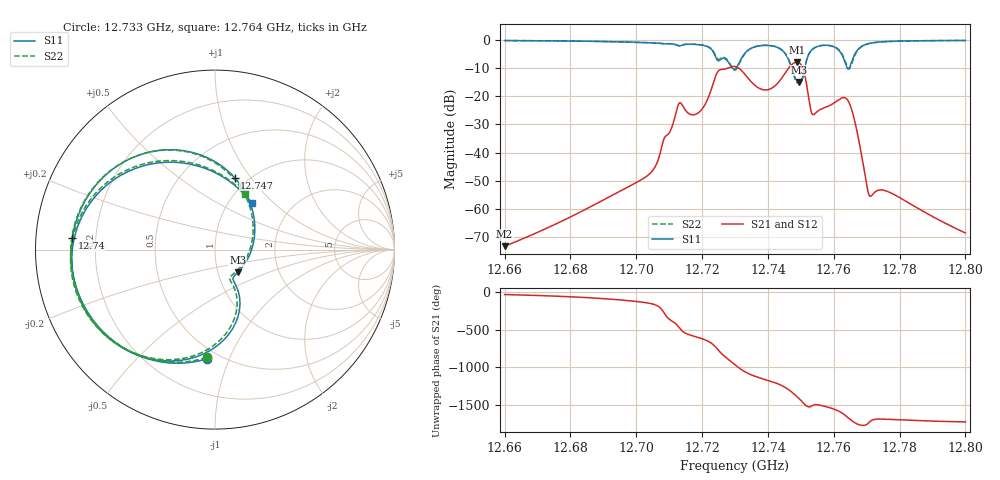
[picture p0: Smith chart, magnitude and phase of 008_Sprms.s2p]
! TOUCHSTONE file generated by CST MICROWAVE STUDIO
! Date and time: Wed Jul 31 10:59:28 2024
! Project name: WaveGuide_BPF-Ver4.1_U-shape_Ku_T3_C4_CWA_2.cst
! Parameters = {cavity_h=16; cavity_l0=10; cavity_l1=15.2332; cavity_l2=16.8024; cavity_l3=17.065; cavity_l4=17.2306; cavity_l5=17.1657; cavity_l6=17.5861; cavity_r=2.5; cavity_screw_l=0.5; cavity_screw_r=1.5; cavity_w=8; iris_h00=0; iris_h01=8.8107; iris_h112=0; iris_h12=5.5984; iris_h211=3.6514; i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
! Header version: 2018
! Port assignment regex: !\s*Touchstone port\s*([0-9]+)\s*=\s*(CST MWS port|CST DS port)\s*([0-9]+|Zmin|Zmax)\s*\(\"(.*)\"\)(\s*mode\s*([0-9]+))?.*
! Touchstone port assignment:
! Touchstone port 1 = CST MWS port 1 ("")
! Touchstone port 2 = CST MWS port 2 ("")
# GHz S RI R 50
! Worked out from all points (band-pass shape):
!   5001 points, 12.66 GHz to 12.8 GHz, reference 50 ohm
!   highest |S21| = -7.87 dB at 12.749 GHz (marker M1); lowest = -73.3 dB at 12.66 GHz (marker M2)
!   |S21| within 3 dB of the highest: 12.72506 GHz to 12.73202 GHz (6.961 MHz wide, 0.0547 % of centre); 12.74575 GHz to 12.75085 GHz (5.091 MHz wide, 0.0399 % of centre)
!   lowest |S11| = -14.9 dB at 12.749 GHz (marker M3), VSWR 1.44, Z = 62.2 - j16.2 ohm
!   |S11| at or under -10 dB: 12.72919 GHz to 12.73031 GHz (1.119 MHz wide, 0.00879 % of centre); 12.74726 GHz to 12.75114 GHz (3.886 MHz wide, 0.0305 % of centre); 12.76413 GHz to 12.76472 GHz (584.7 kHz wide, 0.00458 % of centre)
!   |S22| runs from -15.4 to -0.2 dB; largest |S21 - S12| = 1e-09
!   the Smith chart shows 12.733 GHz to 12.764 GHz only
!   S11 on the Smith chart (normalised r, x): 12.733 GHz: 0.43, -0.83; 12.74 GHz: 0.11, +0.04; 12.747 GHz: 0.87, +0.84; 12.764 GHz: 1.27, +0.74
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12.66  0.4038 0.891  0.00019 -0.000103  0.00019 -0.000103  0.4131 0.8866
12.68335  0.8266 0.4761  0.000374 -0.000817  0.000374 -0.000817  0.8342 0.4622
12.69696  0.9013 -0.1854  -0.000704 -0.00224  -0.000704 -0.00224  0.897 -0.2052
12.70668  0.4366 -0.763  -0.00747 0.000651  -0.00747 0.000651  0.4216 -0.773
12.71303  -0.1262 -0.7766  -0.0247 -0.0711  -0.0247 -0.0711  -0.1361 -0.7808
12.72098  -0.7612 -0.1962  0.00518 0.0727  0.00518 0.0727  -0.7639 -0.2171
12.72602  -0.4193 0.2104  -0.0534 -0.2947  -0.0534 -0.2947  -0.4462 0.1988
12.73  0.2909 0.0896  -0.143 0.3068  -0.143 0.3068  0.2643 0.1239
12.73333  -0.046 -0.6085  0.2255 0.0589  0.2255 0.0589  -0.0467 -0.6009
12.74044  -0.7945 0.0659  -0.0195 -0.1317  -0.0195 -0.1317  -0.7975 0.067
12.74652  0.109 0.4015  -0.2379 0.2272  -0.2379 0.2272  0.0989 0.4022
12.74879  0.1764 -0.0619  0.2407 0.3245  0.2407 0.3245  0.1627 -0.0667
12.7494  0.1272 -0.1263  0.3498 0.1851  0.3498 0.1851  0.1098 -0.1294
12.75335  -0.2505 -0.6205  0.0155 -0.047  0.0155 -0.047  -0.2709 -0.6135
12.75918  -0.7813 0.0754  -0.0147 -0.0691  -0.0147 -0.0691  -0.7892 0.079
12.76217  -0.3369 0.4801  -0.0854 -0.033  -0.0854 -0.033  -0.3746 0.4828
12.76396  0.204 0.2599  -0.0729 0.052  -0.0729 0.052  0.1646 0.3114
12.76548  0.2816 -0.3018  -0.000144 0.0575  -0.000144 0.0575  0.2956 -0.2437
12.76772  -0.2143 -0.6825  0.0124 0.00904  0.0124 0.00904  -0.1921 -0.6722
12.77085  -0.6678 -0.5606  0.000538 0.00162  0.000538 0.00162  -0.6659 -0.5568
12.77668  -0.9125 -0.2385  -0.000613 0.0019  -0.000613 0.0019  -0.9147 -0.2289
12.8  -0.9256 0.328  0.000103 0.000357  0.000103 0.000357  -0.9226 0.3368
